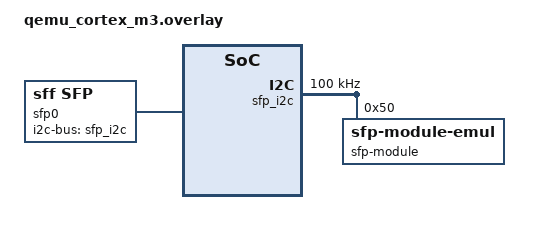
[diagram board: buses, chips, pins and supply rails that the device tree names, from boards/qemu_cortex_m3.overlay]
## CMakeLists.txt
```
# Copyright The Zephyr Project Contributors
# SPDX-License-Identifier: Apache-2.0

cmake_minimum_required(VERSION 3.20.0)
find_package(Zephyr REQUIRED HINTS $ENV{ZEPHYR_BASE})
project(sfp)

target_sources(app PRIVATE src/main.c)
```

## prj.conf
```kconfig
CONFIG_SFP=y
```

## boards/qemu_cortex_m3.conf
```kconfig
CONFIG_EMUL=y
CONFIG_I2C_EMUL=y
```

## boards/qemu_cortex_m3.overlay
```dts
/*
 * Copyright The Zephyr Project Contributors
 *
 * SPDX-License-Identifier: Apache-2.0
 *
 * An SFP cage on an emulated I2C bus, with an emulated module plugged in.
 */

#include <zephyr/dt-bindings/i2c/i2c.h>

/ {
	sfp0: sfp-cage {
		compatible = "sff,sfp";
		i2c-bus = <&sfp_i2c>;
	};

	sfp_i2c: i2c@100 {
		compatible = "zephyr,i2c-emul-controller";
		reg = <0x100 4>;
		clock-frequency = <I2C_BITRATE_STANDARD>;
		#address-cells = <1>;
		#size-cells = <0>;
		status = "okay";

		sfp-module@50 {
			compatible = "zephyr,sfp-module-emul";
			reg = <0x50>;
		};
	};
};
```

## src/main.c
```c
/*
 * Copyright The Zephyr Project Contributors
 *
 * SPDX-License-Identifier: Apache-2.0
 */

#include <errno.h>
#include <stdint.h>

#include <zephyr/device.h>
#include <zephyr/drivers/sfp.h>
#include <zephyr/kernel.h>
#include <zephyr/sff/sff8472.h>
#include <zephyr/sys/printk.h>

#define SAMPLE_READINGS 3

static const struct device *const sfp = DEVICE_DT_GET_ONE(sff_sfp);

/* Print thousandths of a unit, keeping the sign of values between -1 and 0. */
static void print_milli(const char *label, int64_t milli, const char *unit)
{
	uint64_t mag = (milli < 0) ? (uint64_t)(-milli) : (uint64_t)milli;

	printk("%s: %s%u.%03u %s\n", label, (milli < 0) ? "-" : "", (unsigned int)(mag / 1000U),
	       (unsigned int)(mag % 1000U), unit);
}

static void print_id(const struct sff8472_id *id)
{
	printk("Module     : %s, %s connector\n", sff8472_identifier_name(id->identifier),
	       sff8472_connector_name(id->connector));
	printk("Vendor     : %s\n", id->vendor_name);
	printk("Part number: %s rev %s\n", id->vendor_pn, id->vendor_rev);
	printk("Serial     : %s (date code %s)\n", id->vendor_sn, id->date_code);
	printk("Wavelength : %u nm, %u MBd\n", id->wavelength_nm, id->br_nominal_mbd);
}

static void print_diagnostics(const struct sff8472_diagnostics *diag)
{
	print_milli("Temperature", diag->temp_mdegc, "C");
	print_milli("Vcc        ", diag->vcc_uv / 1000U, "V");
	print_milli("TX bias    ", diag->tx_bias_ua, "mA");
	print_milli("TX power   ", diag->tx_power_nw / 1000U, "mW");
	print_milli("RX power   ", diag->rx_power_nw / 1000U, "mW");
	printk("Flags      : alarms 0x%03x, warnings 0x%03x\n", diag->alarm_flags,
	       diag->warning_flags);
}

int main(void)
{
	struct sff8472_diagnostics diag;
	struct sff8472_id id;
	int ret;

	if (!device_is_ready(sfp)) {
		printk("%s is not ready\n", sfp->name);
		return 0;
	}

	ret = sfp_read_id(sfp, &id);
	if (ret == -ENODEV) {
		printk("No module in %s\n", sfp->name);
		return 0;
	} else if (ret != 0) {
		printk("Reading the module ID failed (%d)\n", ret);
		return 0;
	}

	print_id(&id);

	for (int i = 0; i < SAMPLE_READINGS; i++) {
		ret = sfp_read_diagnostics(sfp, &diag);
		if (ret == -ENOTSUP) {
			printk("This module's diagnostics are not supported\n");
			break;
		} else if (ret != 0) {
			printk("Reading diagnostics failed (%d)\n", ret);
			break;
		}

		print_diagnostics(&diag);
		k_sleep(K_SECONDS(1));
	}

	printk("Done\n");

	return 0;
}
```
